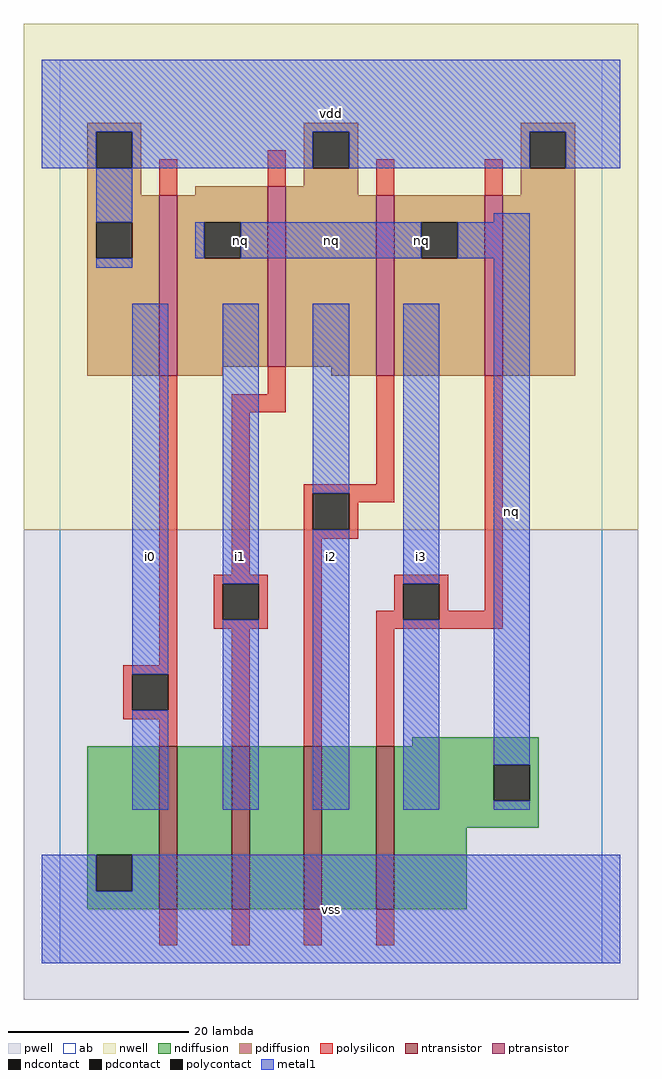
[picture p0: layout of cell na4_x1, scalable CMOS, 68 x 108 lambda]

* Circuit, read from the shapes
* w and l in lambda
.subckt na4_x1 i0 i1 i2 i3 nq vdd vss
M1 n1 i0 vss VSUBS nfet w=18 l=2
M2 n2 i1 n1 VSUBS nfet w=18 l=2
M3 n3 i2 n2 VSUBS nfet w=18 l=2
M4 nq i3 n3 VSUBS nfet w=18 l=2
M5 nq i0 vdd n4 pfet w=20 l=2
M6 vdd i1 nq n4 pfet w=20 l=2
M7 nq i2 vdd n4 pfet w=20 l=2
M8 vdd i3 nq n4 pfet w=20 l=2
.ends

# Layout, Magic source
magic
tech scmos
<< ab >>
rect 0 0 60 100
<< pwell >>
rect -4 -4 64 48
<< nwell >>
rect -4 48 64 104
<< polysilicon >>
rect 11 85 13 89
rect 23 86 25 90
rect 35 85 37 89
rect 47 85 49 89
rect 11 33 13 65
rect 23 63 25 66
rect 19 61 25 63
rect 19 43 21 61
rect 35 53 37 65
rect 27 52 37 53
rect 27 48 28 52
rect 32 51 37 52
rect 32 48 33 51
rect 27 47 33 48
rect 17 42 23 43
rect 17 38 18 42
rect 22 38 23 42
rect 17 37 23 38
rect 7 32 13 33
rect 7 28 8 32
rect 12 28 13 32
rect 7 27 13 28
rect 11 24 13 27
rect 19 24 21 37
rect 27 24 29 47
rect 37 42 43 43
rect 37 39 38 42
rect 35 38 38 39
rect 42 39 43 42
rect 47 39 49 65
rect 42 38 49 39
rect 35 37 49 38
rect 35 24 37 37
rect 11 2 13 6
rect 19 2 21 6
rect 27 2 29 6
rect 35 2 37 6
<< ndiffusion >>
rect 39 24 53 25
rect 3 12 11 24
rect 3 8 4 12
rect 8 8 11 12
rect 3 6 11 8
rect 13 6 19 24
rect 21 6 27 24
rect 29 6 35 24
rect 37 22 53 24
rect 37 18 48 22
rect 52 18 53 22
rect 37 15 53 18
rect 37 6 45 15
<< pdiffusion >>
rect 3 92 9 93
rect 3 88 4 92
rect 8 88 9 92
rect 27 92 33 93
rect 3 85 9 88
rect 27 88 28 92
rect 32 88 33 92
rect 51 92 57 93
rect 27 86 33 88
rect 15 85 23 86
rect 3 82 11 85
rect 3 78 4 82
rect 8 78 11 82
rect 3 65 11 78
rect 13 82 23 85
rect 13 78 16 82
rect 20 78 23 82
rect 13 66 23 78
rect 25 85 33 86
rect 51 88 52 92
rect 56 88 57 92
rect 51 85 57 88
rect 25 66 35 85
rect 13 65 18 66
rect 30 65 35 66
rect 37 82 47 85
rect 37 78 40 82
rect 44 78 47 82
rect 37 65 47 78
rect 49 65 57 85
<< metal1 >>
rect -2 92 62 100
rect -2 88 4 92
rect 8 88 28 92
rect 32 88 52 92
rect 56 88 62 92
rect 4 82 8 88
rect 48 82 52 83
rect 15 78 16 82
rect 20 78 40 82
rect 44 78 52 82
rect 4 77 8 78
rect 8 32 12 73
rect 8 17 12 28
rect 18 42 22 73
rect 18 17 22 38
rect 28 52 32 73
rect 28 17 32 48
rect 38 42 42 73
rect 38 17 42 38
rect 48 22 52 78
rect 48 17 52 18
rect -2 8 4 12
rect 8 8 62 12
rect -2 0 62 8
<< ntransistor >>
rect 11 6 13 24
rect 19 6 21 24
rect 27 6 29 24
rect 35 6 37 24
<< ptransistor >>
rect 11 65 13 85
rect 23 66 25 86
rect 35 65 37 85
rect 47 65 49 85
<< polycontact >>
rect 28 48 32 52
rect 18 38 22 42
rect 8 28 12 32
rect 38 38 42 42
<< ndcontact >>
rect 4 8 8 12
rect 48 18 52 22
<< pdcontact >>
rect 4 88 8 92
rect 28 88 32 92
rect 4 78 8 82
rect 16 78 20 82
rect 52 88 56 92
rect 40 78 44 82
<< labels >>
rlabel metal1 10 45 10 45 6 i0
rlabel metal1 20 45 20 45 6 i1
rlabel metal1 20 80 20 80 6 nq
rlabel metal1 30 6 30 6 6 vss
rlabel metal1 30 45 30 45 6 i2
rlabel metal1 40 45 40 45 6 i3
rlabel metal1 30 80 30 80 6 nq
rlabel metal1 30 94 30 94 6 vdd
rlabel metal1 40 80 40 80 6 nq
rlabel metal1 50 50 50 50 6 nq
<< end >>
